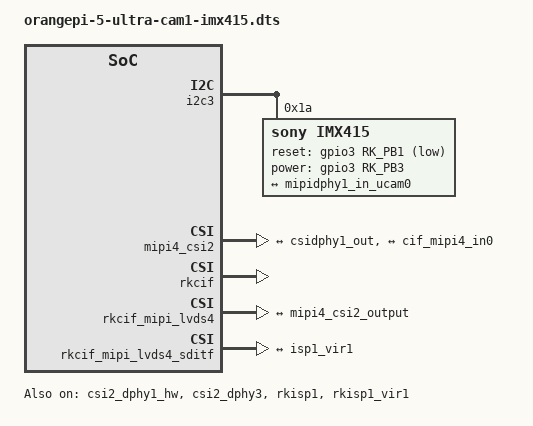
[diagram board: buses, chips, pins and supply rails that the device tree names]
/dts-v1/;
/plugin/;

#include <dt-bindings/clock/rk3588-cru.h>
#include <dt-bindings/power/rk3588-power.h>
#include <dt-bindings/gpio/gpio.h>
#include <dt-bindings/pinctrl/rockchip.h>

/ {
	metadata {
		title = "Enable IMX415 on CAM1";
		compatible = "rockchip,rk3588-orangepi-5-ultra", "rockchip,rk3588";
		category = "camera";
		exclusive = "csi2_dphy3";
		description = "Enable IMX415 4K camera on CAM1 (i2c3).";
	};
};

&i2c3 {
	status = "okay";
	#address-cells = <1>;
	#size-cells = <0>;

	imx415: imx415@1a {
		status = "okay";
		compatible = "sony,imx415";
		reg = <0x1a>;
		clocks = <&cru CLK_MIPI_CAMARAOUT_M2>;
		clock-names = "xvclk";
		pinctrl-names = "default";
		pinctrl-0 = <&mipim1_camera2_clk>;
		reset-gpios = <&gpio3 RK_PB1 GPIO_ACTIVE_LOW>;
		power-gpios = <&gpio3 RK_PB3 GPIO_ACTIVE_HIGH>;
		rockchip,camera-module-index = <1>;
		rockchip,camera-module-facing = "back";
		rockchip,camera-module-name = "CMK-OT2022-PX1";
		rockchip,camera-module-lens-name = "IR0147-50IRC-8M-F20";
		port {
			imx415_out1: endpoint {
				remote-endpoint = <&mipidphy1_in_ucam0>;
				data-lanes = <1 2 3 4>;
			};
		};
	};
};

&csi2_dphy1_hw {
	status = "okay";
};

&csi2_dphy3 {
	status = "okay";

	ports {
		#address-cells = <1>;
		#size-cells = <0>;

		port@0 {
			reg = <0>;
			#address-cells = <1>;
			#size-cells = <0>;

			mipidphy1_in_ucam0: endpoint@1 {
				reg = <1>;
				remote-endpoint = <&imx415_out1>;
				data-lanes = <1 2 3 4>;
			};
		};

		port@1 {
			reg = <1>;
			#address-cells = <1>;
			#size-cells = <0>;

			csidphy1_out: endpoint@0 {
				reg = <0>;
				remote-endpoint = <&mipi4_csi2_input>;
			};
		};
	};
};

&mipi4_csi2 {
	status = "okay";

	ports {
		#address-cells = <1>;
		#size-cells = <0>;

		port@0 {
			reg = <0>;
			#address-cells = <1>;
			#size-cells = <0>;

			mipi4_csi2_input: endpoint@1 {
				reg = <1>;
				remote-endpoint = <&csidphy1_out>;
			};
		};

		port@1 {
			reg = <1>;
			#address-cells = <1>;
			#size-cells = <0>;

			mipi4_csi2_output: endpoint@0 {
				reg = <0>;
				remote-endpoint = <&cif_mipi4_in0>;
			};
		};
	};
};

&rkcif {
	status = "okay";
};

&rkcif_mipi_lvds4 {
	status = "okay";

	port {
		cif_mipi4_in0: endpoint {
			remote-endpoint = <&mipi4_csi2_output>;
		};
	};
};

&rkcif_mipi_lvds4_sditf {
	status = "okay";

	port {
		mipi_lvds4_sditf: endpoint {
			remote-endpoint = <&isp1_vir1>;
		};
	};
};

&rkcif_mmu {
	status = "okay";
};

&isp1_mmu {
	status = "okay";
};

&rkisp1 {
	status = "okay";
};

&rkisp1_vir1 {
	status = "okay";

	port {
		#address-cells = <1>;
		#size-cells = <0>;

		isp1_vir1: endpoint@0 {
			reg = <0>;
			remote-endpoint = <&mipi_lvds4_sditf>;
		};
	};
};
